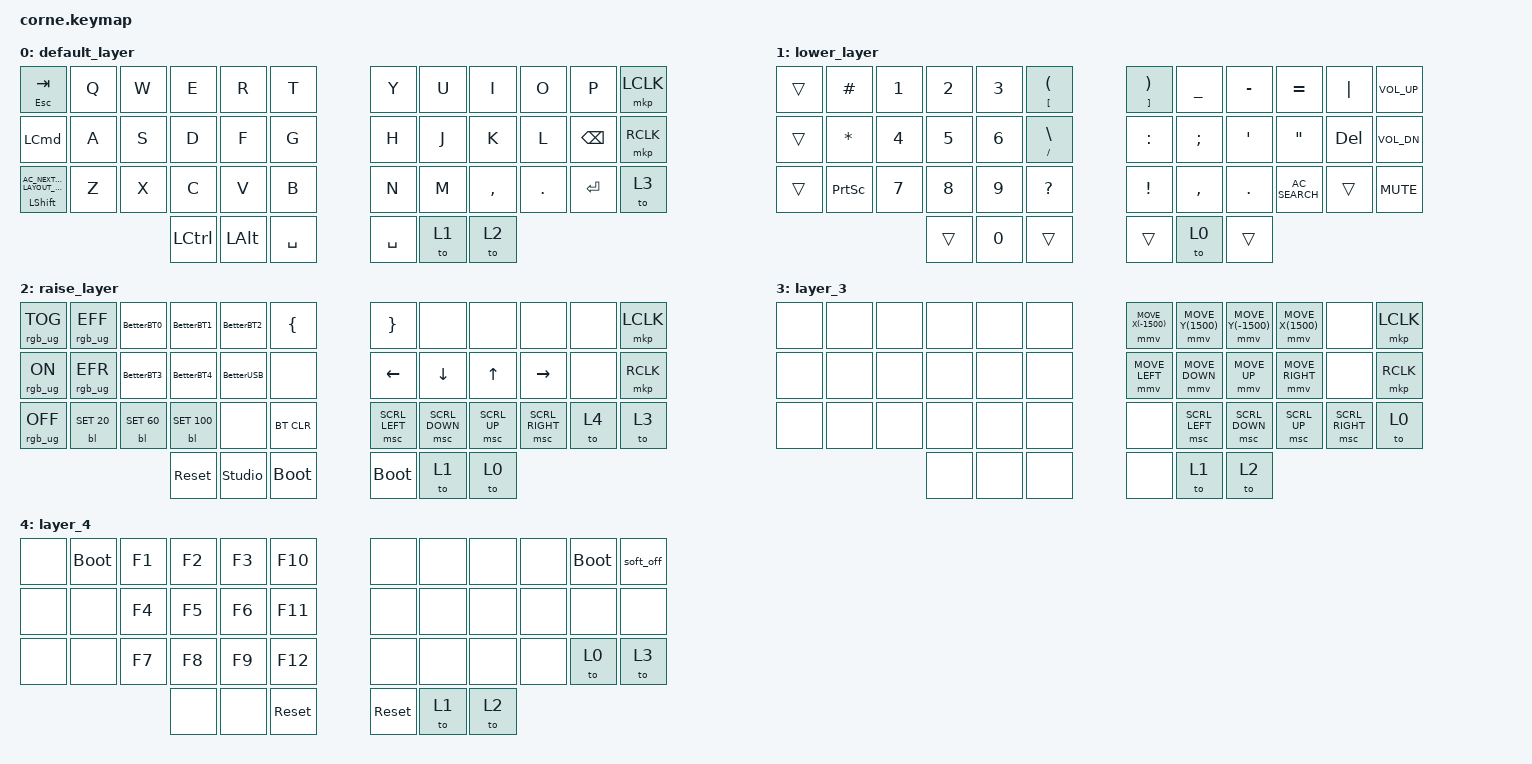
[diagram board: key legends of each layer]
/*
 * Copyright (c) 2020 The ZMK Contributors
 *
 * SPDX-License-Identifier: MIT
 */

#include <dt-bindings/zmk/mouse.h>
#include <behaviors.dtsi>
#include <dt-bindings/zmk/backlight.h>
#include <dt-bindings/zmk/bt.h>
#include <dt-bindings/zmk/keys.h>
#include <dt-bindings/zmk/outputs.h>
#include <dt-bindings/zmk/pointing.h>
#include <dt-bindings/zmk/pointing.h>
#include <dt-bindings/zmk/pointing.h>
#include <dt-bindings/zmk/rgb.h>

/ {
    macros {
        BetterBT0: BetterBT0 {
            compatible = "zmk,behavior-macro";
            #binding-cells = <0>;
            bindings = <&out OUT_BLE &bt BT_SEL 0 &out OUT_BLE &rgb_ug RGB_ON &rgb_ug RGB_COLOR_HSB(0,100,50) &rgb_ug RGB_BRD &rgb_ug RGB_BRD &rgb_ug RGB_BRI>;
            label = "BETTERBT0";
        };

        BetterBT1: BetterBT1 {
            compatible = "zmk,behavior-macro";
            #binding-cells = <0>;
            bindings = <&out OUT_BLE &bt BT_SEL 1 &out OUT_BLE &rgb_ug RGB_ON &rgb_ug RGB_COLOR_HSB(237,100,50) &rgb_ug RGB_BRD &rgb_ug RGB_BRD &rgb_ug RGB_BRI>;
            label = "BETTERBT1";
        };

        BetterBT2: BetterBT2 {
            compatible = "zmk,behavior-macro";
            #binding-cells = <0>;
            bindings = <&out OUT_BLE &bt BT_SEL 2 &out OUT_BLE &rgb_ug RGB_ON &rgb_ug RGB_COLOR_HSB(48,100,50) &rgb_ug RGB_BRD &rgb_ug RGB_BRD &rgb_ug RGB_BRI>;
            label = "BETTERBT2";
        };

        BetterBT3: BetterBT3 {
            compatible = "zmk,behavior-macro";
            #binding-cells = <0>;
            bindings = <&out OUT_BLE &bt BT_SEL 3 &out OUT_BLE &rgb_ug RGB_ON &rgb_ug RGB_COLOR_HSB(123,100,50) &rgb_ug RGB_BRD &rgb_ug RGB_BRD &rgb_ug RGB_BRI>;
            label = "BETTERBT3";
        };

        BetterBT4: BetterBT4 {
            compatible = "zmk,behavior-macro";
            #binding-cells = <0>;
            bindings = <&out OUT_BLE &bt BT_SEL 4 &out OUT_BLE &rgb_ug RGB_ON &rgb_ug RGB_COLOR_HSB(289,100,50) &rgb_ug RGB_BRD &rgb_ug RGB_BRD &rgb_ug RGB_BRI>;
            label = "BETTERBT4";
        };

        BetterUSB: BetterUSB {
            compatible = "zmk,behavior-macro";
            #binding-cells = <0>;
            bindings = <&out OUT_USB &rgb_ug RGB_ON &rgb_ug RGB_COLOR_HSB(0,0,100) &rgb_ug RGB_BRD &rgb_ug RGB_BRD &rgb_ug RGB_BRI>;
            label = "BETTERUSB";
        };
    };

    keymap {
        compatible = "zmk,keymap";

        default_layer {
            // -----------------------------------------------------------------------------------------
            // |  TAB |  Q  |  W  |  E  |  R  |  T  |   |  Y  |  U   |  I  |  O  |  P  | BKSP |
            // | CTRL |  A  |  S  |  D  |  F  |  G  |   |  H  |  J   |  K  |  L  |  ;  |  '   |
            // | SHFT |  Z  |  X  |  C  |  V  |  B  |   |  N  |  M   |  ,  |  .  |  /  | ESC  |
            //                    | GUI | LWR | SPC |   | ENT | RSE  | ALT |

            bindings = <
&mt ESCAPE TAB                                   &kp Q  &kp W  &kp E      &kp R     &kp T        &kp Y      &kp U  &kp I      &kp O    &kp P          &mkp LCLK
&kp LEFT_COMMAND                                 &kp A  &kp S  &kp D      &kp F     &kp G        &kp H      &kp J  &kp K      &kp L    &kp BACKSPACE  &mkp RCLK
&mt LEFT_SHIFT C_AC_NEXT_KEYBOARD_LAYOUT_SELECT  &kp Z  &kp X  &kp C      &kp V     &kp B        &kp N      &kp M  &kp COMMA  &kp DOT  &kp ENTER      &to 3
                                                               &kp LCTRL  &kp LALT  &kp SPACE    &kp SPACE  &to 1  &to 2
            >;
        };

        lower_layer {
            // -----------------------------------------------------------------------------------------
            // |  TAB |  1  |  2  |  3  |  4  |  5  |   |  6  |  7  |  8  |  9  |  0  | BKSP |
            // | BTCLR| BT1 | BT2 | BT3 | BT4 | BT5 |   | LFT | DWN |  UP | RGT |     |      |
            // | SHFT |     |     |     |     |     |   |     |     |     |     |     |      |
            //                    | GUI |     | SPC |   | ENT |     | ALT |

            bindings = <
&trans  &kp HASH         &kp N1  &kp N2  &kp N3  &mt LBKT LPAR          &mt RBKT RPAR  &kp UNDER  &kp MINUS  &kp EQUAL        &kp PIPE    &kp C_VOLUME_UP
&trans  &kp STAR         &kp N4  &kp N5  &kp N6  &mt SLASH BACKSLASH    &kp COLON      &kp SEMI   &kp APOS   &kp DQT          &kp DELETE  &kp C_VOL_DN
&trans  &kp PRINTSCREEN  &kp N7  &kp N8  &kp N9  &kp QMARK              &kp EXCL       &kp COMMA  &kp DOT    &kp C_AC_SEARCH  &trans      &kp C_MUTE
                                 &trans  &kp N0  &trans                 &trans         &to 0      &trans
            >;
        };

        raise_layer {
            // -----------------------------------------------------------------------------------------
            // |  TAB |  !  |  @  |  #  |  $  |  %  |   |  ^  |  &  |  *  |  (  |  )  | BKSP |
            // | CTRL |     |     |     |     |     |   |  -  |  =  |  [  |  ]  |  \  |  `   |
            // | SHFT |     |     |     |     |     |   |  _  |  +  |  {  |  }  | "|" |  ~   |
            //                    | GUI |     | SPC |   | ENT |     | ALT |

            bindings = <
&rgb_ug RGB_TOG  &rgb_ug RGB_EFF  &BetterBT0     &BetterBT1      &BetterBT2      &kp LEFT_BRACE    &kp RIGHT_BRACE  &none           &none         &none            &none  &mkp LCLK
&rgb_ug RGB_ON   &rgb_ug RGB_EFR  &BetterBT3     &BetterBT4      &BetterUSB      &none             &kp LEFT         &kp DOWN        &kp UP        &kp RIGHT        &none  &mkp RCLK
&rgb_ug RGB_OFF  &bl BL_SET 20    &bl BL_SET 60  &bl BL_SET 100  &none           &bt BT_CLR        &msc SCRL_LEFT   &msc SCRL_DOWN  &msc SCRL_UP  &msc SCRL_RIGHT  &to 4  &to 3
                                                 &sys_reset      &studio_unlock  &bootloader       &bootloader      &to 1           &to 0
            >;
        };

        layer_3 {
            bindings = <
&none  &none  &none  &none  &none  &none    &mmv MOVE_X(-1500)  &mmv MOVE_Y(1500)  &mmv MOVE_Y(-1500)  &mmv MOVE_X(1500)  &none            &mkp LCLK
&none  &none  &none  &none  &none  &none    &mmv MOVE_LEFT      &mmv MOVE_DOWN     &mmv MOVE_UP        &mmv MOVE_RIGHT    &none            &mkp RCLK
&none  &none  &none  &none  &none  &none    &none               &msc SCRL_LEFT     &msc SCRL_DOWN      &msc SCRL_UP       &msc SCRL_RIGHT  &to 0
                     &none  &none  &none    &none               &to 1              &to 2
            >;
        };

        layer_4 {
            bindings = <
&none  &bootloader  &kp F1  &kp F2  &kp F3  &kp F10       &none       &none  &none  &none  &bootloader  &soft_off
&none  &none        &kp F4  &kp F5  &kp F6  &kp F11       &none       &none  &none  &none  &none        &none
&none  &none        &kp F7  &kp F8  &kp F9  &kp F12       &none       &none  &none  &none  &to 0        &to 3
                            &none   &none   &sys_reset    &sys_reset  &to 1  &to 2
            >;
        };
    };
};
